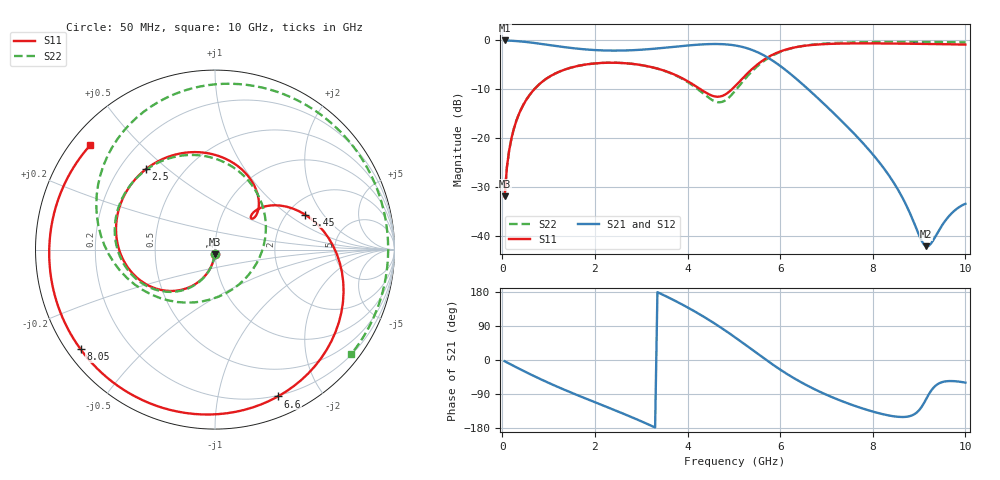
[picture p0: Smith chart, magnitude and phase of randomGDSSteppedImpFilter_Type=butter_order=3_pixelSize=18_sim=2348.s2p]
! freq	dB(S11)	phase(S11)	dB(S12)	phase(S12)
!  dB(S21)	phase(S21)	dB(S22)	phase(S22)
!S-par simulation data
#  GHz  S  DB  R 50
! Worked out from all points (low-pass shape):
!   200 points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, 50 MHz to 10 GHz, reference 50 ohm
!   highest |S21| = -0.01 dB at 50 MHz (marker M1); lowest = -42.0 dB at 9.15 GHz (marker M2)
!   |S21| within 3 dB of the highest: start of sweep to 5.64 GHz
!   lowest |S11| = -31.8 dB at 50 MHz (marker M3), VSWR 1.05, Z = 49.8 - j2.55 ohm
!   |S11| at or under -10 dB: start of sweep to 688.2 MHz; 4.285 GHz to 4.955 GHz (670.3 MHz wide, 14.5 % of centre)
!   |S22| runs from -31.8 to -0.3 dB; largest |S21 - S12| = 0
!   S11 on the Smith chart (normalised r, x): 50 MHz: 1.00, -0.05; 2.5 GHz: 0.31, +0.42; 5.45 GHz: 2.49, +1.37; 6.6 GHz: 0.19, -1.50; 8.05 GHz: 0.04, -0.33; 10 GHz: 0.06, +0.36
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0.05  -31.84 -93.4  -0.01 -3.2  -0.01 -3.2  -31.84 -93.3
0.1  -25.84 -96.7  -0.02 -6.4  -0.02 -6.4  -25.84 -96.6
0.2  -19.90 -103.4  -0.07 -12.8  -0.07 -12.8  -19.90 -103.1
0.5  -12.40 -122.3  -0.30 -31.3  -0.30 -31.3  -12.40 -121.5
1.05  -7.22 -154.5  -0.99 -63.1  -0.99 -63.1  -7.23 -152.6
1.75  -5.00 168.6  -1.80 -99.1  -1.80 -99.1  -4.99 172.1
2.5  -4.57 130.7  -2.08 -136.0  -2.08 -136.0  -4.57 136.6
3.4  -5.88 82.8  -1.59 176.1  -1.59 176.1  -5.90 89.9
3.95  -8.04 53.8  -1.08 142.1  -1.08 142.1  -8.19 52.5
4.45  -10.94 39.1  -0.75 106.7  -0.75 106.7  -11.65 -2.4
4.75  -11.33 42.7  -0.76 83.1  -0.76 83.1  -12.54 -56.6
5.05  -9.12 42.1  -1.06 57.8  -1.06 57.8  -10.03 -111.1
5.45  -5.36 21.1  -2.15 22.1  -2.15 22.1  -5.77 -162.1
5.75  -3.36 -2.1  -3.60 -4.4  -3.60 -4.4  -3.56 168.4
6  -2.26 -22.4  -5.19 -25.3  -5.19 -25.3  -2.36 147.0
6.6  -1.01 -66.8  -9.92 -68.4  -9.92 -68.4  -0.96 104.6
6.7  -0.92 -73.4  -10.78 -74.6  -10.78 -74.6  -0.85 98.5
7.3  -0.64 -108.1  -16.18 -107.0  -16.18 -107.0  -0.48 66.2
8.05  -0.61 -143.5  -23.82 -137.8  -23.82 -137.8  -0.34 32.4
8.35  -0.63 -156.0  -27.56 -146.5  -27.56 -146.5  -0.32 20.3
9.15  -0.71 172.7  -41.99 -103.9  -41.99 -103.9  -0.32 -9.4
10  -0.85 140.0  -33.35 -59.8  -33.35 -59.8  -0.39 -37.6
